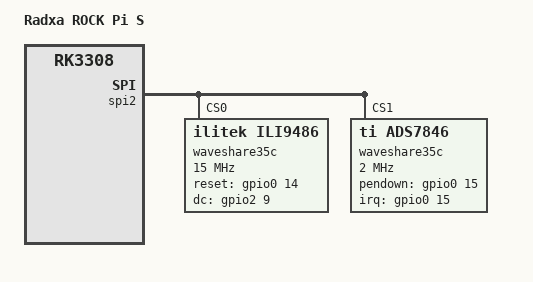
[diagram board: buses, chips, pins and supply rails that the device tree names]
/dts-v1/;
/plugin/;

/ {
	model = "Radxa ROCK Pi S";
	compatible = "radxa,rockpis-rk3308", "rockchip,rk3308";

	fragment@0 {
		target = <&gpio0>;
		__overlay__ {
			waveshare35c_pins_1: waveshare35c_pins_1 {
				rockchip,pins = <0 14 0 &pcfg_pull_none>,
								<0 15 0 &pcfg_pull_none>;
			};
		};
	};

	fragment@1 {
		target = <&gpio2>;
		__overlay__ {
			waveshare35c_pins_2: waveshare35c_pins_2 {
				rockchip,pins = <2 9 0 &pcfg_pull_none>;
			};
		};
	};

	fragment@2 {
		target = <&spi2>;
		__overlay__ {
			status = "okay";
			max-freq = <48000000>;
			#address-cells = <0x1>;
			#size-cells = <0x0>;
			waveshare35c@0 {
				compatible = "ilitek,ili9486";
				status = "okay";
				reg = <0>;
				id = <0>;
				pinctrl-names = "default";
				pinctrl-0 = <&waveshare35c_pins_1 &waveshare35c_pins_2>;
				spi-max-frequency = <15000000>;
				txbuflen = <32768>;
				rotate = <270>;
				bgr = <0>;
				fps = <30>;
				buswidth = <8>;
				regwidth = <16>;
				reset-gpios = <&gpio0 14 0>;
				dc-gpios = <&gpio2 9 0>;
				debug = <0>;
				init = <0x10000b0 0x00
					0x1000011
					0x20000fa
					0x100003a 0x55
					0x1000036 0x28
					0x10000c2 0x44
					0x10000c5 0x00 0x00 0x00 0x00
					0x10000e0 0x0f 0x1f 0x1c 0x0c 0x0f 0x08 0x48 0x98 0x37 0x0a 0x13 0x04 0x11 0x0d 0x00
					0x10000e1 0x0f 0x32 0x2e 0x0b 0x0d 0x05 0x47 0x75 0x37 0x06 0x10 0x03 0x24 0x20 0x00
					0x10000e2 0x0f 0x32 0x2e 0x0b 0x0d 0x05 0x47 0x75 0x37 0x06 0x10 0x03 0x24 0x20 0x00
					0x1000011
					0x1000029>;
			};
			waveshare35c@1 {
				compatible = "ti,ads7846";
				status = "okay";
				reg = <1>;
				id = <1>;
				spi-max-frequency = <2000000>;
				interrupts = <15 2>;
				interrupt-parent = <&gpio0>;
				pendown-gpio = <&gpio0 15 0>;
				ti,x-plate-ohms = /bits/ 16 <60>;/*[00 3c];*/
				ti,pressure-max = /bits/ 16 <255>;/*[00 ff];*/
				ti,swap-xy = <0>;
			};
		};
	};
};
